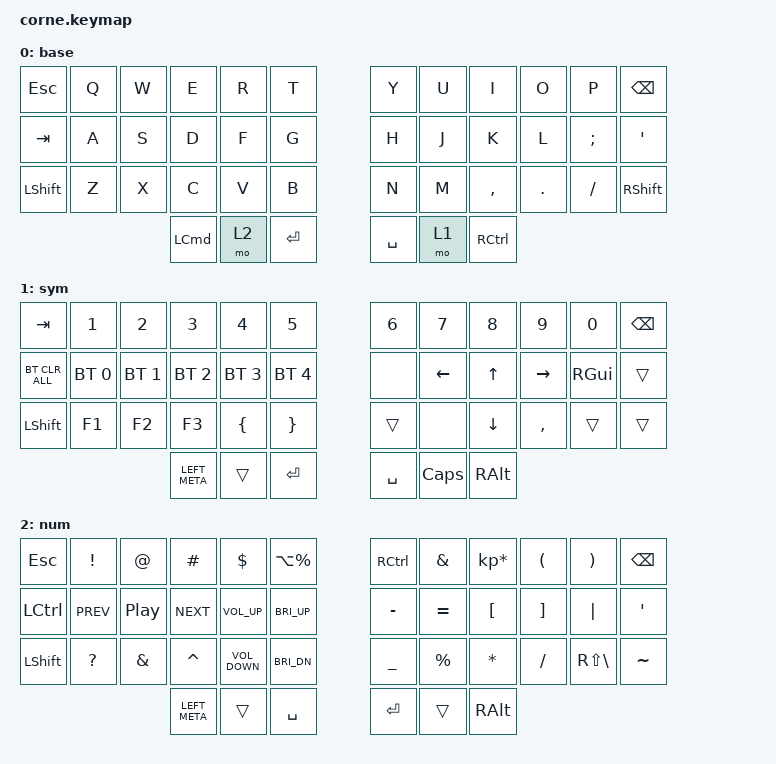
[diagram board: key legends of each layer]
/*
 * Copyright (c) 2020 The ZMK Contributors
 *
 * SPDX-License-Identifier: MIT
 */

#define ZMK_POINTING_DEFAULT_MOVE_VAL 1500  // default: 600
#define ZMK_POINTING_DEFAULT_SCRL_VAL 20    // default: 10

#include <behaviors.dtsi>
#include <dt-bindings/zmk/bt.h>
#include <dt-bindings/zmk/keys.h>

/ {
    combos {
        compatible = "zmk,combos";

        combo_game {
            bindings = <&tog 0>;
            key-positions = <36 41>;
            timeout-ms = <200>;
        };

        game_esc {
            bindings = <&kp ESC>;
            key-positions = <1 2>;
        };
    };

    behaviors {
        hml: hml {
            compatible = "zmk,behavior-hold-tap";
            label = "HML";
            bindings = <&kp>, <&kp>;

            #binding-cells = <2>;
            tapping-term-ms = <220>;
            quick-tap-ms = <175>;
            flavor = "balanced";
            require-prior-idle-ms = <100>;
            hold-trigger-key-positions = <39 40 41 30 18 6 7 9 10 11 18 19 20 21 22 23 30 31 32 33 34 35 40 41 8 36 37 38>;
            hold-trigger-on-release;
        };

        hmr: hmr {
            compatible = "zmk,behavior-hold-tap";
            label = "HMR";
            bindings = <&kp>, <&kp>;

            #binding-cells = <2>;
            tapping-term-ms = <220>;
            quick-tap-ms = <175>;
            require-prior-idle-ms = <100>;
            flavor = "balanced";
            hold-trigger-key-positions = <0 1 2 3 4 5 12 13 14 15 16 17 24 25 26 27 28 29 36 37 38 39 40 41>;
            hold-trigger-on-release;
        };

        tkl: tkl {
            compatible = "zmk,behavior-hold-tap";
            label = "TKL";
            bindings = <&mo>, <&kp>;

            #binding-cells = <2>;
            tapping-term-ms = <220>;
            quick-tap-ms = <175>;
            flavor = "balanced";
            require-prior-idle-ms = <100>;
            hold-trigger-key-positions = <39 40 41 30 18 6 7 9 10 11 18 19 20 21 22 23 30 31 32 33 34 35 40 41 8 38 37 36>;
            hold-trigger-on-release;
        };

        tkr: tkr {
            compatible = "zmk,behavior-hold-tap";
            label = "TKR";
            bindings = <&mo>, <&kp>;

            #binding-cells = <2>;
            tapping-term-ms = <220>;
            quick-tap-ms = <175>;
            require-prior-idle-ms = <100>;
            flavor = "balanced";
            hold-trigger-key-positions = <0 1 2 3 4 5 12 13 14 15 16 17 24 25 26 27 28 29 36 37 38 39 40 41>;
            hold-trigger-on-release;
        };
    };

    keymap {
        compatible = "zmk,keymap";

        base {
            // -----------------------------------------------------------------------------------------
            // |  TAB |  Q  |  W  |  E  |  R  |  T  |   |  Y  |  U   |  I  |  O  |  P  | BKSP |
            // | CTRL |  A  |  S  |  D  |  F  |  G  |   |  H  |  J   |  K  |  L  |  ;  |  '   |
            // | SHFT |  Z  |  X  |  C  |  V  |  B  |   |  N  |  M   |  ,  |  .  |  /  | ESC  |
            //                    | GUI | LWR | SPC |   | ENT | RSE  | ALT |

            bindings = <
&kp ESC         &kp Q  &kp W  &kp E             &kp R  &kp T        &kp Y      &kp U  &kp I              &kp O    &kp P          &kp BACKSPACE
&kp TAB         &kp A  &kp S  &kp D             &kp F  &kp G        &kp H      &kp J  &kp K              &kp L    &kp SEMICOLON  &kp SQT
&kp LEFT_SHIFT  &kp Z  &kp X  &kp C             &kp V  &kp B        &kp N      &kp M  &kp COMMA          &kp DOT  &kp FSLH       &kp RIGHT_SHIFT
                              &kp LEFT_COMMAND  &mo 2  &kp ENTER    &kp SPACE  &mo 1  &kp RIGHT_CONTROL
            >;
        };

        sym {
            // -----------------------------------------------------------------------------------------
            // |  TAB |  1  |  2  |  3  |  4  |  5  |   |  6  |  7  |  8  |  9  |  0  | BKSP |
            // | BTCLR| BT1 | BT2 | BT3 | BT4 | BT5 |   | LFT | DWN |  UP | RGT |     |      |
            // | SHFT |     |     |     |     |     |   |     |     |     |     |     |      |
            //                    | GUI |     | SPC |   | ENT |     | ALT |

            bindings = <
&kp TAB         &kp NUMBER_1  &kp NUMBER_2  &kp NUMBER_3   &kp NUMBER_4    &kp N5          &kp NUMBER_6  &kp NUMBER_7    &kp NUMBER_8    &kp NUMBER_9  &kp NUMBER_0  &kp BACKSPACE
&bt BT_CLR_ALL  &bt BT_SEL 0  &bt BT_SEL 1  &bt BT_SEL 2   &bt BT_SEL 3    &bt BT_SEL 4    &none         &kp LEFT_ARROW  &kp UP_ARROW    &kp RIGHT     &kp RGUI      &trans
&kp LEFT_SHIFT  &kp F1        &kp F2        &kp F3         &kp LEFT_BRACE  &kp RBRC        &trans        &none           &kp DOWN_ARROW  &kp COMMA     &trans        &trans
                                            &kp LEFT_META  &trans          &kp ENTER       &kp SPACE     &kp CAPSLOCK    &kp RIGHT_ALT
            >;
        };

        num {
            bindings = <
&kp ESCAPE        &kp EXCLAMATION  &kp AT_SIGN  &kp HASH       &kp DOLLAR         &kp LA(PERCENT)    &kp RIGHT_CONTROL  &kp AMPS     &kp KP_MULTIPLY   &kp LPAR   &kp RIGHT_PARENTHESIS  &kp BACKSPACE
&kp LEFT_CONTROL  &kp C_PREV       &kp C_PP     &kp C_NEXT     &kp C_VOL_UP       &kp C_BRI_UP       &kp MINUS          &kp EQUAL    &kp LEFT_BRACKET  &kp RBKT   &kp PIPE               &kp APOS
&kp LEFT_SHIFT    &kp QMARK        &kp AMPS     &kp CARET      &kp C_VOLUME_DOWN  &kp C_BRI_DN       &kp UNDERSCORE     &kp PERCENT  &kp ASTERISK      &kp SLASH  &kp RS(BSLH)           &kp TILDE
                                                &kp LEFT_META  &trans             &kp SPACE          &kp ENTER          &trans       &kp RIGHT_ALT
            >;
        };
    };
};
